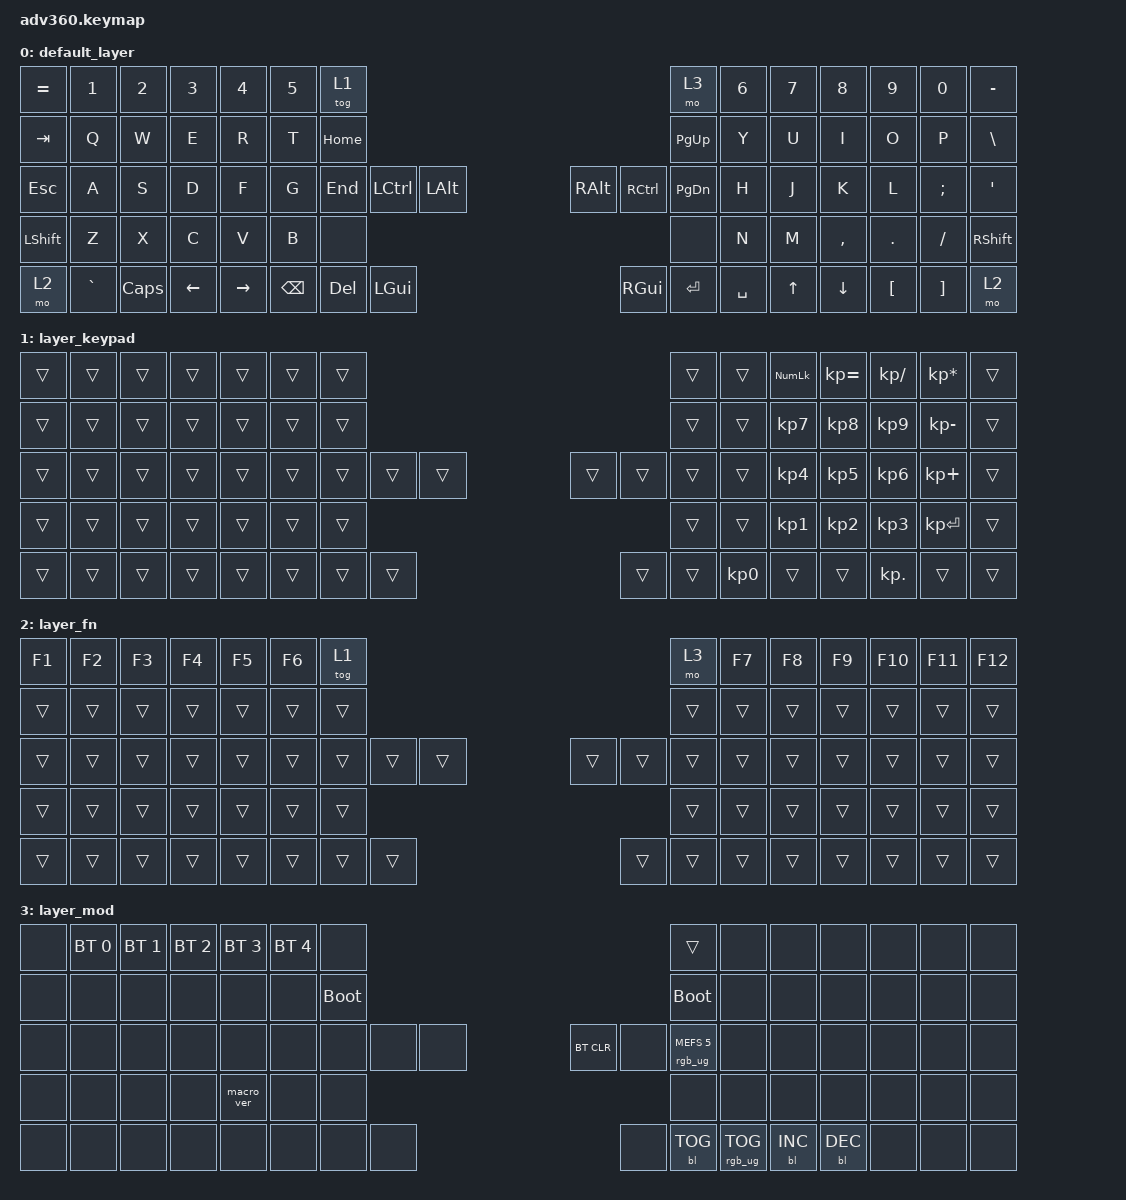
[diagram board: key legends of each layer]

/*
 * Copyright (c) 2020 The ZMK Contributors
 *
 * SPDX-License-Identifier: MIT
 */


/* THIS FILE WAS GENERATED!
 *
 * This file was generated automatically. You may or may not want to
 * edit it directly.
 */

#include <behaviors.dtsi>
#include <dt-bindings/zmk/keys.h>
#include <dt-bindings/zmk/bt.h>
#include <dt-bindings/zmk/rgb.h>
#include <dt-bindings/zmk/backlight.h>

/ {
  behaviors {
    #include "macros.dtsi"
    #include "version.dtsi"

    hm: homerow_mods {
        compatible = "zmk,behavior-hold-tap";
        label = "HOMEROW_MODS";
        #binding-cells = <2>;
        tapping-term-ms = <200>;
        quick_tap_ms = <175>;
        flavor = "tap-preferred";
        bindings = <&kp>, <&kp>;
    };
  };

    keymap {
        compatible = "zmk,keymap";


        default_layer {
            bindings = <
 &kp EQUAL     &kp N1        &kp N2    &kp N3     &kp N4  &kp N5              &tog 1                                                                    &mo 3  &kp N6  &kp N7     &kp N8      &kp N9     &kp N0  &kp MINUS
   &kp TAB      &kp Q         &kp W     &kp E      &kp R   &kp T            &kp HOME                                                              &kp PAGE_UP   &kp Y   &kp U      &kp I       &kp O      &kp P   &kp BSLH
   &kp ESC      &kp A         &kp S     &kp D      &kp F   &kp G             &kp END  &kp LCTRL  &kp LALT                  &kp RALT  &kp RCTRL  &kp PAGE_DOWN   &kp H   &kp J      &kp K       &kp L   &kp SEMI    &kp SQT
 &kp LSHFT      &kp Z         &kp X     &kp C      &kp V   &kp B                                    &none                     &none                             &kp N   &kp M  &kp COMMA  &kp PERIOD  &kp SLASH  &kp RSHFT
     &mo 2  &kp GRAVE  &kp CAPSLOCK  &kp LEFT  &kp RIGHT                    &kp BSPC    &kp DEL  &kp LGUI                  &kp RGUI  &kp ENTER      &kp SPACE          &kp UP   &kp DOWN    &kp LBKT   &kp RBKT      &mo 2
            >;
        };

        layer_keypad {
            bindings = <
 &trans  &trans  &trans  &trans  &trans  &trans            &trans                                                     &trans  &trans  &kp KP_NUM  &kp KP_EQUAL  &kp KP_DIVIDE  &kp KP_MULTIPLY  &trans
 &trans  &trans  &trans  &trans  &trans  &trans            &trans                                                     &trans  &trans   &kp KP_N7     &kp KP_N8      &kp KP_N9     &kp KP_MINUS  &trans
 &trans  &trans  &trans  &trans  &trans  &trans            &trans  &trans  &trans                  &trans  &trans     &trans  &trans   &kp KP_N4     &kp KP_N5      &kp KP_N6      &kp KP_PLUS  &trans
 &trans  &trans  &trans  &trans  &trans  &trans                            &trans                  &trans                     &trans   &kp KP_N1     &kp KP_N2      &kp KP_N3     &kp KP_ENTER  &trans
 &trans  &trans  &trans  &trans  &trans                    &trans  &trans  &trans                  &trans  &trans  &kp KP_N0              &trans        &trans     &kp KP_DOT           &trans  &trans
            >;
        };

        layer_fn {
            bindings = <
 &kp F1  &kp F2  &kp F3  &kp F4  &kp F5  &kp F6            &tog 1                                                   &mo 3  &kp F7  &kp F8  &kp F9  &kp F10  &kp F11  &kp F12
 &trans  &trans  &trans  &trans  &trans  &trans            &trans                                                  &trans  &trans  &trans  &trans   &trans   &trans   &trans
 &trans  &trans  &trans  &trans  &trans  &trans            &trans  &trans  &trans                  &trans  &trans  &trans  &trans  &trans  &trans   &trans   &trans   &trans
 &trans  &trans  &trans  &trans  &trans  &trans                            &trans                  &trans                  &trans  &trans  &trans   &trans   &trans   &trans
 &trans  &trans  &trans  &trans  &trans                    &trans  &trans  &trans                  &trans  &trans  &trans          &trans  &trans   &trans   &trans   &trans
            >;
        };

        layer_mod {
            bindings = <
  &none  &bt BT_SEL 0  &bt BT_SEL 1  &bt BT_SEL 2  &bt BT_SEL 3  &bt BT_SEL 4                  &none                                                                          &trans   &none       &none       &none   &none   &none   &none
  &none         &none         &none         &none         &none         &none            &bootloader                                                                     &bootloader   &none       &none       &none   &none   &none   &none
  &none         &none         &none         &none         &none         &none                  &none   &none   &none                  &bt BT_CLR       &none  &rgb_ug RGB_MEFS_CMD 5   &none       &none       &none   &none   &none   &none
  &none         &none         &none         &none    &macro_ver         &none                                  &none                       &none                                       &none       &none       &none   &none   &none   &none
  &none         &none         &none         &none         &none                                &none   &none   &none                       &none  &bl BL_TOG         &rgb_ug RGB_TOG          &bl BL_INC  &bl BL_DEC   &none   &none   &none
            >;
        };

    };
};
